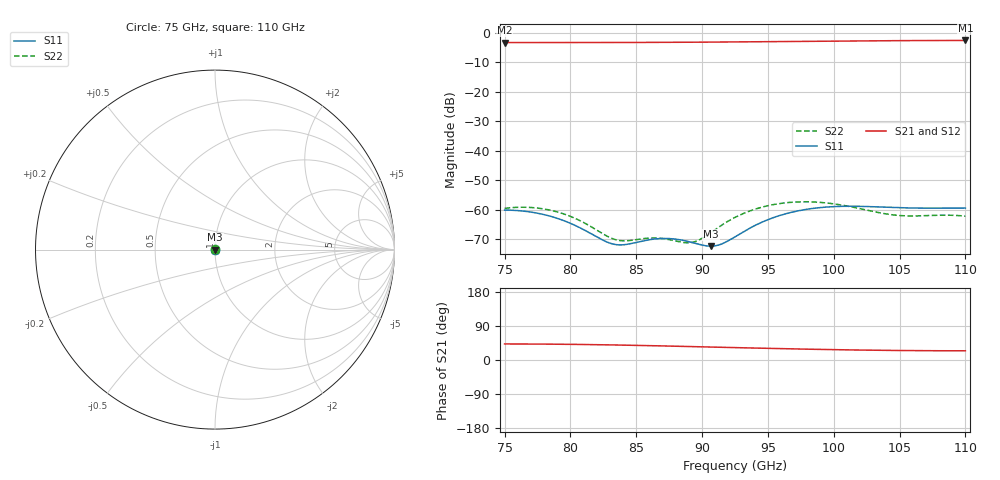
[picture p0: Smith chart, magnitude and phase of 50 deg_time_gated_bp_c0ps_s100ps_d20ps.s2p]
# Hz S RI R 50.000000
! Metas.Vna.Tools, 2.4.7724.19584
! Metas.Vna.Data, 2.4.7724.19560
! Created: UTC 2021.04.29 12:40:11
! FREQ  re:S1,1  im:S1,1  re:S2,1  im:S2,1  re:S1,2  im:S1,2  re:S2,2  im:S2,2
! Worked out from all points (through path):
!   1401 points, 75 GHz to 110 GHz, reference 50 ohm
!   highest |S21| = -2.59 dB at 110 GHz (marker M1); lowest = -3.3 dB at 75 GHz (marker M2)
!   lowest |S11| = -72.3 dB at 90.67 GHz (marker M3), VSWR 1.00, Z = 50 + j0.00148 ohm
!   |S11| at or under -10 dB: start of sweep to end of sweep
!   |S22| runs from -71.2 to -57.3 dB; largest |S21 - S12| = 0.047
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7.5e10  -0.000573 -0.000806  0.505 0.4601  0.5133 0.4526  -0.00027 0.00102
7.655e10  -0.000563 -0.000758  0.5058 0.4592  0.5142 0.4517  -0.000415 0.00102
7.805e10  -0.000532 -0.000628  0.5081 0.4568  0.5166 0.449  -0.000494 0.0009
7.9475e10  -0.000481 -0.000448  0.5116 0.4532  0.5203 0.4449  -0.000509 0.000685
8.085e10  -0.000412 -0.000246  0.5161 0.4485  0.5251 0.4396  -0.000473 0.000422
8.26e10  -0.000295 9.21e-06  0.5235 0.441  0.5328 0.431  -0.000369 7.46e-05
8.3475e10  -0.000227 0.00012  0.5279 0.4367  0.5374 0.426  -0.0003 -7.71e-05
8.42e10  -0.000167 0.000197  0.5317 0.4328  0.5415 0.4216  -0.000236 -0.000181
8.6675e10  4.19e-05 0.000321  0.5467 0.4181  0.5573 0.4045  2.28e-06 -0.000331
8.785e10  0.000128 0.000294  0.5546 0.4105  0.5656 0.3955  0.000119 -0.000276
8.91e10  0.000198 0.000204  0.5635 0.4021  0.575 0.3855  0.000242 -0.000134
8.9775e10  0.000223 0.000132  0.5684 0.3975  0.5803 0.3799  0.000307 -2.8e-05
9.0675e10  0.000241 1.47e-05  0.5752 0.3912  0.5874 0.3724  0.000391 0.000136
9.1475e10  0.000241 -0.000105  0.5812 0.3856  0.5939 0.3656  0.000461 0.000296
9.25e10  0.000216 -0.000273  0.5891 0.3785  0.6022 0.3569  0.000543 0.000507
9.38e10  0.000147 -0.000491  0.5991 0.3695  0.6129 0.3458  0.000629 0.000759
9.5225e10  2.72e-05 -0.00071  0.6099 0.36  0.6244 0.3339  0.00069 0.000985
9.6725e10  -0.000135 -0.000889  0.621 0.3504  0.6363 0.3218  0.000702 0.00114
9.835e10  -0.000333 -0.000996  0.6324 0.3407  0.6486 0.3094  0.000644 0.0012
1.00775e11  -0.00062 -0.000964  0.6477 0.328  0.665 0.2929  0.000411 0.00111
1.04175e11  -0.000911 -0.000618  0.6645 0.3145  0.6831 0.2751  -0.000107 0.000831
1.1e11  -0.00106 -0.000127  0.6763 0.3052  0.6959 0.2625  -0.000625 0.000466
